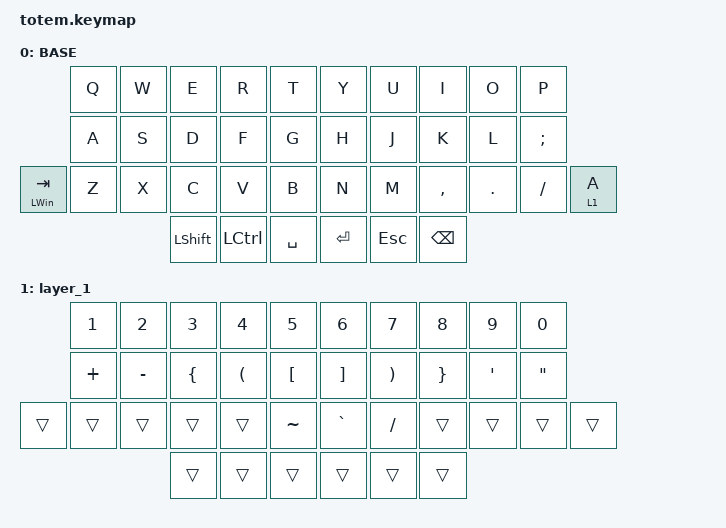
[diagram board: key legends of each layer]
//
//                                                        ▀▀▀▀▀     ▀▀▀▀▀          ▀▀█▀▀
//                                                        ▄▀▀▀▄  ▄  ▄▀▀▀▄  ▄  ▄▀▀▀▄  █  ▄▀▀▀▄
//                                                        █   █  █  █   █  █  █   █  █  █   █
//                                                         ▀▀▀   █   ▀▀▀   █   ▀▀▀   ▀   ▀▀▀
//                                                               █      ▄▄▄█▄▄▄    █   █  
//                                                               ▀      █  █  █     █▄█
//                                                             ▀▀▀▀▀    █  █  █      ▀
//                                                                      ▀  ▀  ▀
//
// ▄▄▄▄▄▄▄▄▄▄▄▄▄▄▄▄▄▄▄▄▄▄▄▄▄▄▄▄▄▄▄▄▄▄▄▄▄▄▄▄▄▄▄▄▄▄▄▄▄▄▄▄▄▄▄▄▄▄▄▄▄▄▄▄▄▄▄▄▄▄▄▄▄▄▄▄▄▄▄▄▄▄▄▄▄▄▄▄▄▄▄▄▄▄▄▄▄▄▄▄▄▄▄▄▄▄▄▄▄▄▄▄▄▄▄▄▄▄▄▄▄▄▄▄▄▄▄▄▄▄▄▄▄▄▄▄▄▄▄▄▄▄▄▄▄▄▄▄▄

#include <behaviors.dtsi>
#include <dt-bindings/zmk/keys.h>

#define BASE 0
#define NAV  1
#define SYM  2
#define ADJ  3
#define TVP1 4
#define TVP2 5

/ {
    combos { compatible = "zmk,combos"; };

    keymap {
        compatible = "zmk,keymap";

        // ▄▄▄▄▄▄▄▄▄▄▄▄▄▄▄▄▄▄▄▄▄▄▄▄▄▄▄▄▄▄▄▄▄▄▄▄▄▄▄▄▄▄▄▄▄▄▄▄▄▄▄▄▄▄▄▄▄▄▄▄▄▄▄▄▄▄▄▄▄▄▄▄▄▄▄▄▄▄▄▄▄▄▄▄▄▄▄▄▄▄▄▄▄▄▄▄▄▄▄▄▄▄▄▄▄▄▄▄▄▄▄▄▄▄▄▄▄▄▄▄▄▄▄▄▄▄▄▄▄▄▄▄▄▄▄▄▄▄▄▄▄▄▄▄▄▄▄▄▄

        base_layer {
            // ┏━━━━━━━━━━━━━━━━━━━━━━━━━━━━━━━━━━━━━━━┓

            label = "BASE";

            // ┗━━━━━━━━━━━━━━━━━━━━━━━━━━━━━━━━━━━━━━━┛
            //             ┏━━━━━━━━━━━┳━━━━━━━━━━━┳━━━━━━━━━━━┳━━━━━━━━━━━┳━━━━━━━━━━━┓   ┏━━━━━━━━━━━┳━━━━━━━━━━━┳━━━━━━━━━━━┳━━━━━━━━━━━┳━━━━━━━━━━━┓
            //             ┃     Q     ┃     W     ┃     F     ┃     P     ┃     G     ┃   ┃     J     ┃     L     ┃     U     ┃     Y     ┃     ;     ┃
            //             ┣━━━━━━━━━━━╋━━━━━━━━━━━╋━━━━━━━━━━━╋━━━━━━━━━━━╋━━━━━━━━━━━┫   ┣━━━━━━━━━━━╋━━━━━━━━━━━╋━━━━━━━━━━━╋━━━━━━━━━━━╋━━━━━━━━━━━┫
            //             ┃     A     ┃     R     ┃     S     ┃     T     ┃     D     ┃   ┃     H     ┃     N     ┃     E     ┃     I     ┃     O     ┃
            // ┏━━━━━━━━━━━╋━━━━━━━━━━━╋━━━━━━━━━━━╋━━━━━━━━━━━╋━━━━━━━━━━━╋━━━━━━━━━━━┫   ┣━━━━━━━━━━━╋━━━━━━━━━━━╋━━━━━━━━━━━╋━━━━━━━━━━━╋━━━━━━━━━━━╋━━━━━━━━━━━┓
            // ┃     Q     ┃     Z     ┃     X     ┃     C     ┃     V     ┃     B     ┃   ┃     K     ┃     M     ┃     ,     ┃     .     ┃     /     ┃     \     ┃
            // ┗━━━━━━━━━━━┻━━━━━━━━━━━┻━━━━━━━━━━━╋━━━━━━━━━━━╋━━━━━━━━━━━╋━━━━━━━━━━━┫   ┣━━━━━━━━━━━╋━━━━━━━━━━━╋━━━━━━━━━━━╋━━━━━━━━━━━┻━━━━━━━━━━━┻━━━━━━━━━━━┛
            //                                     ┃    DEL    ┃    TAB    ┃    SPC    ┃   ┃   ENTER   ┃           ┃   BSPC    ┃
            //                                     ┗━━━━━━━━━━━┻━━━━━━━━━━━┻━━━━━━━━━━━┛   ┗━━━━━━━━━━━┻━━━━━━━━━━━┻━━━━━━━━━━━┛

            bindings = <
                  &kp Q  &kp W  &kp E      &kp R      &kp T        &kp Y    &kp U       &kp I      &kp O    &kp P
                  &kp A  &kp S  &kp D      &kp F      &kp G        &kp H    &kp J       &kp K      &kp L    &kp SEMICOLON
&mt LEFT_WIN TAB  &kp Z  &kp X  &kp C      &kp V      &kp B        &kp N    &kp M       &kp COMMA  &kp DOT  &kp FSLH       &lt 1 A
                                &kp LSHFT  &kp LCTRL  &kp SPACE    &kp RET  &kp ESCAPE  &kp BSPC
            >;
        };

        layer_1 {
            bindings = <
        &kp NUMBER_1  &kp NUMBER_2  &kp NUMBER_3    &kp NUMBER_4          &kp NUMBER_5        &kp NUMBER_6       &kp NUMBER_7           &kp NUMBER_8     &kp NUMBER_9  &kp N0
        &kp PLUS      &kp MINUS     &kp LEFT_BRACE  &kp LEFT_PARENTHESIS  &kp LEFT_BRACKET    &kp RIGHT_BRACKET  &kp RIGHT_PARENTHESIS  &kp RIGHT_BRACE  &kp SQT       &kp DQT
&trans  &trans        &trans        &trans          &trans                &kp TILDE           &kp GRAVE          &kp FSLH               &trans           &trans        &trans   &trans
                                    &trans          &trans                &trans              &trans             &trans                 &trans
            >;
        };

        // ▄▄▄▄▄▄▄▄▄▄▄▄▄▄▄▄▄▄▄▄▄▄▄▄▄▄▄▄▄▄▄▄▄▄▄▄▄▄▄▄▄▄▄▄▄▄▄▄▄▄▄▄▄▄▄▄▄▄▄▄▄▄▄▄▄▄▄▄▄▄▄▄▄▄▄▄▄▄▄▄▄▄▄▄▄▄▄▄▄▄▄▄▄▄▄▄▄▄▄▄▄▄▄▄▄▄▄▄▄▄▄▄▄▄▄▄▄▄▄▄▄▄▄▄▄▄▄▄▄▄▄▄▄▄▄▄▄▄▄▄▄▄▄▄▄▄▄▄▄
        // ▄▄▄▄▄▄▄▄▄▄▄▄▄▄▄▄▄▄▄▄▄▄▄▄▄▄▄▄▄▄▄▄▄▄▄▄▄▄▄▄▄▄▄▄▄▄▄▄▄▄▄▄▄▄▄▄▄▄▄▄▄▄▄▄▄▄▄▄▄▄▄▄▄▄▄▄▄▄▄▄▄▄▄▄▄▄▄▄▄▄▄▄▄▄▄▄▄▄▄▄▄▄▄▄▄▄▄▄▄▄▄▄▄▄▄▄▄▄▄▄▄▄▄▄▄▄▄▄▄▄▄▄▄▄▄▄▄▄▄▄▄▄▄▄▄▄▄▄▄
        // ▄▄▄▄▄▄▄▄▄▄▄▄▄▄▄▄▄▄▄▄▄▄▄▄▄▄▄▄▄▄▄▄▄▄▄▄▄▄▄▄▄▄▄▄▄▄▄▄▄▄▄▄▄▄▄▄▄▄▄▄▄▄▄▄▄▄▄▄▄▄▄▄▄▄▄▄▄▄▄▄▄▄▄▄▄▄▄▄▄▄▄▄▄▄▄▄▄▄▄▄▄▄▄▄▄▄▄▄▄▄▄▄▄▄▄▄▄▄▄▄▄▄▄▄▄▄▄▄▄▄▄▄▄▄▄▄▄▄▄▄▄▄▄▄▄▄▄▄▄
        // ▄▄▄▄▄▄▄▄▄▄▄▄▄▄▄▄▄▄▄▄▄▄▄▄▄▄▄▄▄▄▄▄▄▄▄▄▄▄▄▄▄▄▄▄▄▄▄▄▄▄▄▄▄▄▄▄▄▄▄▄▄▄▄▄▄▄▄▄▄▄▄▄▄▄▄▄▄▄▄▄▄▄▄▄▄▄▄▄▄▄▄▄▄▄▄▄▄▄▄▄▄▄▄▄▄▄▄▄▄▄▄▄▄▄▄▄▄▄▄▄▄▄▄▄▄▄▄▄▄▄▄▄▄▄▄▄▄▄▄▄▄▄▄▄▄▄▄▄▄
        // ▄▄▄▄▄▄▄▄▄▄▄▄▄▄▄▄▄▄▄▄▄▄▄▄▄▄▄▄▄▄▄▄▄▄▄▄▄▄▄▄▄▄▄▄▄▄▄▄▄▄▄▄▄▄▄▄▄▄▄▄▄▄▄▄▄▄▄▄▄▄▄▄▄▄▄▄▄▄▄▄▄▄▄▄▄▄▄▄▄▄▄▄▄▄▄▄▄▄▄▄▄▄▄▄▄▄▄▄▄▄▄▄▄▄▄▄▄▄▄▄▄▄▄▄▄▄▄▄▄▄▄▄▄▄▄▄▄▄▄▄▄▄▄▄▄▄▄▄▄
    };
};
